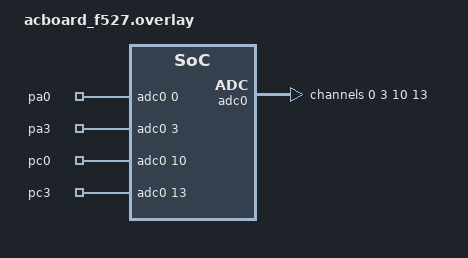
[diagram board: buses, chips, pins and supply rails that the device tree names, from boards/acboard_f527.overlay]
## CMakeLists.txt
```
# SPDX-License-Identifier: Apache-2.0

cmake_minimum_required(VERSION 3.20.0)

find_package(Zephyr REQUIRED HINTS $ENV{ZEPHYR_BASE})
project(acboard_adc_inputs_test)

target_sources(app PRIVATE src/main.c)
```

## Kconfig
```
# Copyright (c) 2026
# SPDX-License-Identifier: Apache-2.0

mainmenu "ACBoard ADC inputs test"

source "Kconfig.zephyr"
```

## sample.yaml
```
sample:
  name: ACBoard general ADC inputs test
common:
  platform_allow:
    - acboard_f527
  tags:
    - adc
    - sensor
tests:
  sample.boards.acboard.adc_inputs_test:
    build_only: true
```

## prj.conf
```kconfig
CONFIG_ADC=y
CONFIG_PRINTK=y
CONFIG_LOG=y

CONFIG_MAIN_STACK_SIZE=1024
CONFIG_HEAP_MEM_POOL_SIZE=0
```

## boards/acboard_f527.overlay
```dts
#include <zephyr/dt-bindings/adc/adc.h>

/ {
	zephyr,user {
		io-channels = <&adc0 0>, <&adc0 3>, <&adc0 10>, <&adc0 13>;
		io-channel-names = "pa0", "pa3", "pc0", "pc3";
	};
};

&adc0 {
	status = "okay";
	pinctrl-0 = <&adc0_inputs_default>;
	pinctrl-names = "default";
	gd,clock-prescaler = <4>;
	#address-cells = <1>;
	#size-cells = <0>;

	channel@0 {
		reg = <0>;
		zephyr,gain = "ADC_GAIN_1";
		zephyr,reference = "ADC_REF_INTERNAL";
		zephyr,acquisition-time = <ADC_ACQ_TIME(ADC_ACQ_TIME_TICKS, 144)>;
		zephyr,resolution = <12>;
	};

	channel@3 {
		reg = <3>;
		zephyr,gain = "ADC_GAIN_1";
		zephyr,reference = "ADC_REF_INTERNAL";
		zephyr,acquisition-time = <ADC_ACQ_TIME(ADC_ACQ_TIME_TICKS, 144)>;
		zephyr,resolution = <12>;
	};

	channel@a {
		reg = <10>;
		zephyr,gain = "ADC_GAIN_1";
		zephyr,reference = "ADC_REF_INTERNAL";
		zephyr,acquisition-time = <ADC_ACQ_TIME(ADC_ACQ_TIME_TICKS, 144)>;
		zephyr,resolution = <12>;
	};

	channel@d {
		reg = <13>;
		zephyr,gain = "ADC_GAIN_1";
		zephyr,reference = "ADC_REF_INTERNAL";
		zephyr,acquisition-time = <ADC_ACQ_TIME(ADC_ACQ_TIME_TICKS, 144)>;
		zephyr,resolution = <12>;
	};
};
```

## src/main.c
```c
/*
 * Copyright (c) 2026
 * SPDX-License-Identifier: Apache-2.0
 */

#include <stdint.h>

#include <zephyr/devicetree.h>
#include <zephyr/drivers/adc.h>
#include <zephyr/kernel.h>
#include <zephyr/sys/printk.h>

#define USER_NODE DT_PATH(zephyr_user)
#define SAMPLE_COUNT 16U
#define REPORT_INTERVAL K_SECONDS(1)
#define ADC_NOMINAL_REFERENCE_MV 3300U
#define ADC_FULL_SCALE 4095U

struct adc_input {
	const char *name;
	struct adc_dt_spec spec;
};

static const struct adc_input inputs[] = {
	{.name = "PA0", .spec = ADC_DT_SPEC_GET_BY_NAME(USER_NODE, pa0)},
	{.name = "PA3", .spec = ADC_DT_SPEC_GET_BY_NAME(USER_NODE, pa3)},
	{.name = "PC0", .spec = ADC_DT_SPEC_GET_BY_NAME(USER_NODE, pc0)},
	{.name = "PC3", .spec = ADC_DT_SPEC_GET_BY_NAME(USER_NODE, pc3)},
};

static uint16_t samples[SAMPLE_COUNT];

static int sample_input(const struct adc_input *input, uint16_t *minimum,
			uint16_t *average, uint16_t *maximum, int32_t *millivolts)
{
	struct adc_sequence_options options = {
		.extra_samplings = SAMPLE_COUNT - 1U,
	};
	struct adc_sequence sequence = {
		.options = &options,
		.buffer = samples,
		.buffer_size = sizeof(samples),
	};
	uint32_t sum = 0U;
	int ret;

	adc_sequence_init_dt(&input->spec, &sequence);
	ret = adc_read(input->spec.dev, &sequence);
	if (ret < 0) {
		return ret;
	}

	*minimum = UINT16_MAX;
	*maximum = 0U;
	for (size_t i = 0U; i < ARRAY_SIZE(samples); ++i) {
		*minimum = MIN(*minimum, samples[i]);
		*maximum = MAX(*maximum, samples[i]);
		sum += samples[i];
	}

	*average = (uint16_t)(sum / ARRAY_SIZE(samples));
	*millivolts = (int32_t)(((uint32_t)*average * ADC_NOMINAL_REFERENCE_MV +
				 ADC_FULL_SCALE / 2U) / ADC_FULL_SCALE);
	return 0;
}

int main(void)
{
	uint16_t minimum;
	uint16_t average;
	uint16_t maximum;
	int32_t millivolts;
	int ret;

	printk("\nACBoard general ADC inputs test\n");
	printk("12-bit ADC, nominal reference 3300 mV\n");

	for (size_t i = 0U; i < ARRAY_SIZE(inputs); ++i) {
		if (!adc_is_ready_dt(&inputs[i].spec)) {
			printk("%s ADC device not ready\n", inputs[i].name);
			return 0;
		}

		ret = adc_channel_setup_dt(&inputs[i].spec);
		if (ret < 0) {
			printk("%s ADC setup failed: %d\n", inputs[i].name, ret);
			return 0;
		}
	}

	while (true) {
		for (size_t i = 0U; i < ARRAY_SIZE(inputs); ++i) {
			ret = sample_input(&inputs[i], &minimum, &average, &maximum,
					   &millivolts);
			if (ret < 0) {
				printk("%s read failed: %d\n", inputs[i].name, ret);
				continue;
			}

			printk("%s: raw min=%u avg=%u max=%u, estimated=%d mV\n",
			       inputs[i].name, minimum, average, maximum, millivolts);
		}
		printk("\n");
		k_sleep(REPORT_INTERVAL);
	}

	return 0;
}
```
